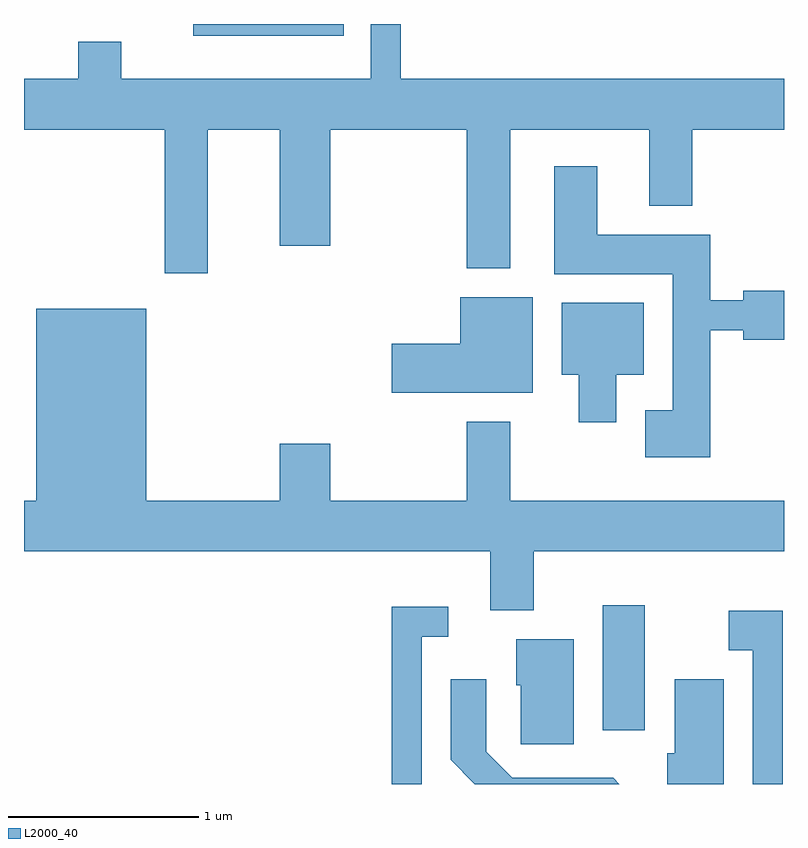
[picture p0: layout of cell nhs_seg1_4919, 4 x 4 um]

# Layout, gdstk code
import gdstk
lib = gdstk.Library(unit=1e-6, precision=1e-09)
def R(c, l, rs):  # rectangles x0, y0, x1, y1
    for r in rs: c.add(gdstk.rectangle(r[:2], r[2:], *l))
def P(c, l, *ps):  # polygons
    for p in ps: c.add(gdstk.Polygon(p, *l))
L2000_40 = (2000, 40)

nhs_seg1_4919 = lib.new_cell('nhs_seg1_4919')
R(nhs_seg1_4919, L2000_40, [(336.656,871.996,336.879,872.654), (334.501,875.651,335.293,875.712)])
P(nhs_seg1_4919, L2000_40, [(334.579,875.156),(334.956,875.156),(334.956,874.546),(335.224,874.546),(335.224,875.156),(335.941,875.156),(335.941,874.426),(336.169,874.426),(336.169,875.156),(336.901,875.156),(336.901,874.756),(337.129,874.756),(337.129,875.156),(337.611,875.156),(337.611,875.424),(335.594,875.424),(335.594,875.712),(335.436,875.712),(335.436,875.424),(334.124,875.424),(334.124,875.619),(333.896,875.619),(333.896,875.424),(333.611,875.424),(333.611,875.156),(334.351,875.156),(334.351,874.401),(334.579,874.401)],
  [(337.224,874.101),(337.396,874.101),(337.396,874.051),(337.611,874.051),(337.611,874.309),(337.396,874.309),(337.396,874.259),(337.224,874.259),(337.224,874.604),(336.629,874.604),(336.629,874.964),(336.401,874.964),(336.401,874.396),(337.026,874.396),(337.026,873.679),(336.881,873.679),(336.881,873.431),(337.224,873.431)],
  [(336.289,874.274),(335.906,874.274),(335.906,874.029),(335.546,874.029),(335.546,873.771),(336.289,873.771)],
  [(336.729,873.866),(336.874,873.866),(336.874,874.244),(336.441,874.244),(336.441,873.866),(336.531,873.866),(336.531,873.616),(336.729,873.616)],
  [(336.294,872.936),(337.611,872.936),(337.611,873.204),(336.169,873.204),(336.169,873.619),(335.941,873.619),(335.941,873.204),(335.224,873.204),(335.224,873.504),(334.956,873.504),(334.956,873.204),(334.254,873.204),(334.254,874.214),(333.676,874.214),(333.676,873.204),(333.611,873.204),(333.611,872.936),(336.066,872.936),(336.066,872.626),(336.294,872.626)],
  [(335.704,872.486),(335.843,872.486),(335.843,872.644),(335.546,872.644),(335.546,871.712),(335.704,871.712)],
  [(337.604,872.624),(337.321,872.624),(337.321,872.416),(337.446,872.416),(337.446,871.712),(337.604,871.712)],
  [(336.504,872.474),(336.201,872.474),(336.201,872.231),(336.226,872.231),(336.226,871.921),(336.504,871.921)],
  [(336.712,871.744),(336.182,871.744),(336.044,871.882),(336.044,872.264),(335.856,872.264),(335.856,871.839),(335.983,871.712),(336.744,871.712)],
  [(337.294,872.264),(337.036,872.264),(337.036,871.874),(336.996,871.874),(336.996,871.712),(337.294,871.712)])

lib.write_gds('nhs_seg1_4919.gds')
